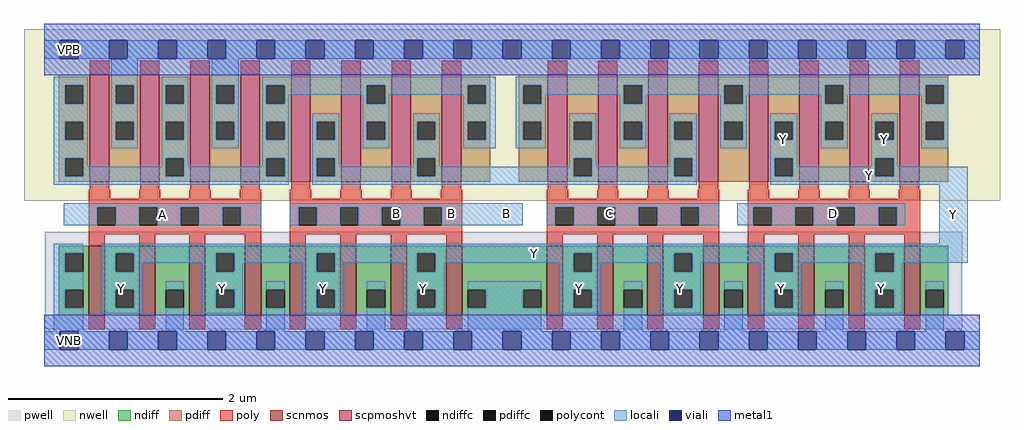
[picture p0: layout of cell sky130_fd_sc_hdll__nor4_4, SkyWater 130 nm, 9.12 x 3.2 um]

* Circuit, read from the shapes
.subckt sky130_fd_sc_hdll__nor4_4 A B C D VGND VNB VPB VPWR Y
XM1 Y A VGND VNB sky130_fd_pr__nfet_01v8 w=0.65 l=0.15 m=4
XM2 Y B VGND VNB sky130_fd_pr__nfet_01v8 w=0.65 l=0.15 m=4
XM3 Y C VGND VNB sky130_fd_pr__nfet_01v8 w=0.65 l=0.15 m=4
XM4 Y D VGND VNB sky130_fd_pr__nfet_01v8 w=0.65 l=0.15 m=4
XM5 VPWR A n1 VPB sky130_fd_pr__pfet_01v8_hvt w=1 l=0.18 m=4
XM6 n2 B n1 VPB sky130_fd_pr__pfet_01v8_hvt w=1 l=0.18 m=4
XM7 n2 C n3 VPB sky130_fd_pr__pfet_01v8_hvt w=1 l=0.18 m=4
XM8 Y D n3 VPB sky130_fd_pr__pfet_01v8_hvt w=1 l=0.18 m=4
.ends

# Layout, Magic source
magic
tech sky130A
magscale 1 2
<< nwell >>
rect -38 261 1786 582
<< pwell >>
rect 1 21 1715 203
rect 30 -17 64 21
<< scnmos >>
rect 83 47 113 177
rect 177 47 207 177
rect 271 47 301 177
rect 375 47 405 177
rect 459 47 489 177
rect 553 47 583 177
rect 647 47 677 177
rect 751 47 781 177
rect 939 47 969 177
rect 1033 47 1063 177
rect 1127 47 1157 177
rect 1231 47 1261 177
rect 1315 47 1345 177
rect 1409 47 1439 177
rect 1503 47 1533 177
rect 1607 47 1637 177
<< scpmoshvt >>
rect 85 297 121 497
rect 179 297 215 497
rect 273 297 309 497
rect 367 297 403 497
rect 461 297 497 497
rect 555 297 591 497
rect 649 297 685 497
rect 743 297 779 497
rect 941 297 977 497
rect 1035 297 1071 497
rect 1129 297 1165 497
rect 1223 297 1259 497
rect 1317 297 1353 497
rect 1411 297 1447 497
rect 1505 297 1541 497
rect 1599 297 1635 497
<< ndiff >>
rect 27 163 83 177
rect 27 129 39 163
rect 73 129 83 163
rect 27 95 83 129
rect 27 61 39 95
rect 73 61 83 95
rect 27 47 83 61
rect 113 163 177 177
rect 113 129 133 163
rect 167 129 177 163
rect 113 95 177 129
rect 113 61 133 95
rect 167 61 177 95
rect 113 47 177 61
rect 207 95 271 177
rect 207 61 227 95
rect 261 61 271 95
rect 207 47 271 61
rect 301 163 375 177
rect 301 129 321 163
rect 355 129 375 163
rect 301 95 375 129
rect 301 61 321 95
rect 355 61 375 95
rect 301 47 375 61
rect 405 95 459 177
rect 405 61 415 95
rect 449 61 459 95
rect 405 47 459 61
rect 489 163 553 177
rect 489 129 509 163
rect 543 129 553 163
rect 489 95 553 129
rect 489 61 509 95
rect 543 61 553 95
rect 489 47 553 61
rect 583 95 647 177
rect 583 61 603 95
rect 637 61 647 95
rect 583 47 647 61
rect 677 163 751 177
rect 677 129 697 163
rect 731 129 751 163
rect 677 95 751 129
rect 677 61 697 95
rect 731 61 751 95
rect 677 47 751 61
rect 781 95 939 177
rect 781 61 791 95
rect 825 61 895 95
rect 929 61 939 95
rect 781 47 939 61
rect 969 163 1033 177
rect 969 129 989 163
rect 1023 129 1033 163
rect 969 95 1033 129
rect 969 61 989 95
rect 1023 61 1033 95
rect 969 47 1033 61
rect 1063 95 1127 177
rect 1063 61 1083 95
rect 1117 61 1127 95
rect 1063 47 1127 61
rect 1157 163 1231 177
rect 1157 129 1177 163
rect 1211 129 1231 163
rect 1157 95 1231 129
rect 1157 61 1177 95
rect 1211 61 1231 95
rect 1157 47 1231 61
rect 1261 95 1315 177
rect 1261 61 1271 95
rect 1305 61 1315 95
rect 1261 47 1315 61
rect 1345 163 1409 177
rect 1345 129 1365 163
rect 1399 129 1409 163
rect 1345 95 1409 129
rect 1345 61 1365 95
rect 1399 61 1409 95
rect 1345 47 1409 61
rect 1439 95 1503 177
rect 1439 61 1459 95
rect 1493 61 1503 95
rect 1439 47 1503 61
rect 1533 163 1607 177
rect 1533 129 1553 163
rect 1587 129 1607 163
rect 1533 95 1607 129
rect 1533 61 1553 95
rect 1587 61 1607 95
rect 1533 47 1607 61
rect 1637 95 1689 177
rect 1637 61 1647 95
rect 1681 61 1689 95
rect 1637 47 1689 61
<< pdiff >>
rect 27 477 85 497
rect 27 443 39 477
rect 73 443 85 477
rect 27 409 85 443
rect 27 375 39 409
rect 73 375 85 409
rect 27 341 85 375
rect 27 307 39 341
rect 73 307 85 341
rect 27 297 85 307
rect 121 477 179 497
rect 121 443 133 477
rect 167 443 179 477
rect 121 409 179 443
rect 121 375 133 409
rect 167 375 179 409
rect 121 297 179 375
rect 215 477 273 497
rect 215 443 227 477
rect 261 443 273 477
rect 215 409 273 443
rect 215 375 227 409
rect 261 375 273 409
rect 215 341 273 375
rect 215 307 227 341
rect 261 307 273 341
rect 215 297 273 307
rect 309 477 367 497
rect 309 443 321 477
rect 355 443 367 477
rect 309 409 367 443
rect 309 375 321 409
rect 355 375 367 409
rect 309 297 367 375
rect 403 477 461 497
rect 403 443 415 477
rect 449 443 461 477
rect 403 409 461 443
rect 403 375 415 409
rect 449 375 461 409
rect 403 341 461 375
rect 403 307 415 341
rect 449 307 461 341
rect 403 297 461 307
rect 497 409 555 497
rect 497 375 509 409
rect 543 375 555 409
rect 497 341 555 375
rect 497 307 509 341
rect 543 307 555 341
rect 497 297 555 307
rect 591 477 649 497
rect 591 443 603 477
rect 637 443 649 477
rect 591 409 649 443
rect 591 375 603 409
rect 637 375 649 409
rect 591 297 649 375
rect 685 409 743 497
rect 685 375 697 409
rect 731 375 743 409
rect 685 341 743 375
rect 685 307 697 341
rect 731 307 743 341
rect 685 297 743 307
rect 779 477 833 497
rect 779 443 791 477
rect 825 443 833 477
rect 779 409 833 443
rect 779 375 791 409
rect 825 375 833 409
rect 779 297 833 375
rect 887 477 941 497
rect 887 443 895 477
rect 929 443 941 477
rect 887 409 941 443
rect 887 375 895 409
rect 929 375 941 409
rect 887 297 941 375
rect 977 409 1035 497
rect 977 375 989 409
rect 1023 375 1035 409
rect 977 341 1035 375
rect 977 307 989 341
rect 1023 307 1035 341
rect 977 297 1035 307
rect 1071 477 1129 497
rect 1071 443 1083 477
rect 1117 443 1129 477
rect 1071 409 1129 443
rect 1071 375 1083 409
rect 1117 375 1129 409
rect 1071 297 1129 375
rect 1165 409 1223 497
rect 1165 375 1177 409
rect 1211 375 1223 409
rect 1165 341 1223 375
rect 1165 307 1177 341
rect 1211 307 1223 341
rect 1165 297 1223 307
rect 1259 477 1317 497
rect 1259 443 1271 477
rect 1305 443 1317 477
rect 1259 409 1317 443
rect 1259 375 1271 409
rect 1305 375 1317 409
rect 1259 297 1317 375
rect 1353 409 1411 497
rect 1353 375 1365 409
rect 1399 375 1411 409
rect 1353 341 1411 375
rect 1353 307 1365 341
rect 1399 307 1411 341
rect 1353 297 1411 307
rect 1447 477 1505 497
rect 1447 443 1459 477
rect 1493 443 1505 477
rect 1447 409 1505 443
rect 1447 375 1459 409
rect 1493 375 1505 409
rect 1447 297 1505 375
rect 1541 409 1599 497
rect 1541 375 1553 409
rect 1587 375 1599 409
rect 1541 341 1599 375
rect 1541 307 1553 341
rect 1587 307 1599 341
rect 1541 297 1599 307
rect 1635 477 1689 497
rect 1635 443 1647 477
rect 1681 443 1689 477
rect 1635 409 1689 443
rect 1635 375 1647 409
rect 1681 375 1689 409
rect 1635 297 1689 375
<< ndiffc >>
rect 39 129 73 163
rect 39 61 73 95
rect 133 129 167 163
rect 133 61 167 95
rect 227 61 261 95
rect 321 129 355 163
rect 321 61 355 95
rect 415 61 449 95
rect 509 129 543 163
rect 509 61 543 95
rect 603 61 637 95
rect 697 129 731 163
rect 697 61 731 95
rect 791 61 825 95
rect 895 61 929 95
rect 989 129 1023 163
rect 989 61 1023 95
rect 1083 61 1117 95
rect 1177 129 1211 163
rect 1177 61 1211 95
rect 1271 61 1305 95
rect 1365 129 1399 163
rect 1365 61 1399 95
rect 1459 61 1493 95
rect 1553 129 1587 163
rect 1553 61 1587 95
rect 1647 61 1681 95
<< pdiffc >>
rect 39 443 73 477
rect 39 375 73 409
rect 39 307 73 341
rect 133 443 167 477
rect 133 375 167 409
rect 227 443 261 477
rect 227 375 261 409
rect 227 307 261 341
rect 321 443 355 477
rect 321 375 355 409
rect 415 443 449 477
rect 415 375 449 409
rect 415 307 449 341
rect 509 375 543 409
rect 509 307 543 341
rect 603 443 637 477
rect 603 375 637 409
rect 697 375 731 409
rect 697 307 731 341
rect 791 443 825 477
rect 791 375 825 409
rect 895 443 929 477
rect 895 375 929 409
rect 989 375 1023 409
rect 989 307 1023 341
rect 1083 443 1117 477
rect 1083 375 1117 409
rect 1177 375 1211 409
rect 1177 307 1211 341
rect 1271 443 1305 477
rect 1271 375 1305 409
rect 1365 375 1399 409
rect 1365 307 1399 341
rect 1459 443 1493 477
rect 1459 375 1493 409
rect 1553 375 1587 409
rect 1553 307 1587 341
rect 1647 443 1681 477
rect 1647 375 1681 409
<< poly >>
rect 85 497 121 523
rect 179 497 215 523
rect 273 497 309 523
rect 367 497 403 523
rect 461 497 497 523
rect 555 497 591 523
rect 649 497 685 523
rect 743 497 779 523
rect 941 497 977 523
rect 1035 497 1071 523
rect 1129 497 1165 523
rect 1223 497 1259 523
rect 1317 497 1353 523
rect 1411 497 1447 523
rect 1505 497 1541 523
rect 1599 497 1635 523
rect 85 282 121 297
rect 179 282 215 297
rect 273 282 309 297
rect 367 282 403 297
rect 461 282 497 297
rect 555 282 591 297
rect 649 282 685 297
rect 743 282 779 297
rect 941 282 977 297
rect 1035 282 1071 297
rect 1129 282 1165 297
rect 1223 282 1259 297
rect 1317 282 1353 297
rect 1411 282 1447 297
rect 1505 282 1541 297
rect 1599 282 1635 297
rect 83 265 123 282
rect 177 265 217 282
rect 271 265 311 282
rect 365 265 405 282
rect 83 249 405 265
rect 83 215 99 249
rect 133 215 177 249
rect 211 215 255 249
rect 289 215 333 249
rect 367 215 405 249
rect 83 199 405 215
rect 83 177 113 199
rect 177 177 207 199
rect 271 177 301 199
rect 375 177 405 199
rect 459 265 499 282
rect 553 265 593 282
rect 647 265 687 282
rect 741 265 781 282
rect 459 249 781 265
rect 459 215 475 249
rect 509 215 553 249
rect 587 215 631 249
rect 665 215 709 249
rect 743 215 781 249
rect 459 199 781 215
rect 459 177 489 199
rect 553 177 583 199
rect 647 177 677 199
rect 751 177 781 199
rect 939 265 979 282
rect 1033 265 1073 282
rect 1127 265 1167 282
rect 1221 265 1261 282
rect 939 249 1261 265
rect 939 215 955 249
rect 989 215 1033 249
rect 1067 215 1111 249
rect 1145 215 1189 249
rect 1223 215 1261 249
rect 939 199 1261 215
rect 939 177 969 199
rect 1033 177 1063 199
rect 1127 177 1157 199
rect 1231 177 1261 199
rect 1315 265 1355 282
rect 1409 265 1449 282
rect 1503 265 1543 282
rect 1597 265 1637 282
rect 1315 249 1637 265
rect 1315 215 1325 249
rect 1359 215 1403 249
rect 1437 215 1481 249
rect 1515 215 1559 249
rect 1593 215 1637 249
rect 1315 199 1637 215
rect 1315 177 1345 199
rect 1409 177 1439 199
rect 1503 177 1533 199
rect 1607 177 1637 199
rect 83 21 113 47
rect 177 21 207 47
rect 271 21 301 47
rect 375 21 405 47
rect 459 21 489 47
rect 553 21 583 47
rect 647 21 677 47
rect 751 21 781 47
rect 939 21 969 47
rect 1033 21 1063 47
rect 1127 21 1157 47
rect 1231 21 1261 47
rect 1315 21 1345 47
rect 1409 21 1439 47
rect 1503 21 1533 47
rect 1607 21 1637 47
<< polycont >>
rect 99 215 133 249
rect 177 215 211 249
rect 255 215 289 249
rect 333 215 367 249
rect 475 215 509 249
rect 553 215 587 249
rect 631 215 665 249
rect 709 215 743 249
rect 955 215 989 249
rect 1033 215 1067 249
rect 1111 215 1145 249
rect 1189 215 1223 249
rect 1325 215 1359 249
rect 1403 215 1437 249
rect 1481 215 1515 249
rect 1559 215 1593 249
<< locali >>
rect 0 527 29 561
rect 63 527 121 561
rect 155 527 213 561
rect 247 527 305 561
rect 339 527 397 561
rect 431 527 489 561
rect 523 527 581 561
rect 615 527 673 561
rect 707 527 765 561
rect 799 527 857 561
rect 891 527 949 561
rect 983 527 1041 561
rect 1075 527 1133 561
rect 1167 527 1225 561
rect 1259 527 1317 561
rect 1351 527 1409 561
rect 1443 527 1501 561
rect 1535 527 1593 561
rect 1627 527 1685 561
rect 1719 527 1748 561
rect 18 477 81 493
rect 18 443 39 477
rect 73 443 81 477
rect 18 409 81 443
rect 18 375 39 409
rect 73 375 81 409
rect 18 341 81 375
rect 125 477 175 527
rect 125 443 133 477
rect 167 443 175 477
rect 125 409 175 443
rect 125 375 133 409
rect 167 375 175 409
rect 125 359 175 375
rect 219 477 269 493
rect 219 443 227 477
rect 261 443 269 477
rect 219 409 269 443
rect 219 375 227 409
rect 261 375 269 409
rect 18 307 39 341
rect 73 325 81 341
rect 219 341 269 375
rect 313 477 363 527
rect 313 443 321 477
rect 355 443 363 477
rect 313 409 363 443
rect 313 375 321 409
rect 355 375 363 409
rect 313 359 363 375
rect 407 477 844 493
rect 407 443 415 477
rect 449 459 603 477
rect 449 443 457 459
rect 407 409 457 443
rect 595 443 603 459
rect 637 459 791 477
rect 637 443 645 459
rect 407 375 415 409
rect 449 375 457 409
rect 219 325 227 341
rect 73 307 227 325
rect 261 325 269 341
rect 407 341 457 375
rect 407 325 415 341
rect 261 307 415 325
rect 449 307 457 341
rect 18 291 457 307
rect 501 409 551 425
rect 501 375 509 409
rect 543 375 551 409
rect 501 341 551 375
rect 595 409 645 443
rect 783 443 791 459
rect 825 443 844 477
rect 595 375 603 409
rect 637 375 645 409
rect 595 359 645 375
rect 689 409 739 425
rect 689 375 697 409
rect 731 375 739 409
rect 501 307 509 341
rect 543 325 551 341
rect 689 341 739 375
rect 783 409 844 443
rect 783 375 791 409
rect 825 375 844 409
rect 783 359 844 375
rect 881 477 1689 493
rect 881 443 895 477
rect 929 459 1083 477
rect 929 443 937 459
rect 881 409 937 443
rect 1075 443 1083 459
rect 1117 459 1271 477
rect 1117 443 1125 459
rect 881 375 895 409
rect 929 375 937 409
rect 881 359 937 375
rect 981 409 1031 425
rect 981 375 989 409
rect 1023 375 1031 409
rect 689 325 697 341
rect 543 307 697 325
rect 731 325 739 341
rect 981 341 1031 375
rect 1075 409 1125 443
rect 1263 443 1271 459
rect 1305 459 1459 477
rect 1305 443 1313 459
rect 1075 375 1083 409
rect 1117 375 1125 409
rect 1075 359 1125 375
rect 1169 409 1219 425
rect 1169 375 1177 409
rect 1211 375 1219 409
rect 981 325 989 341
rect 731 307 989 325
rect 1023 325 1031 341
rect 1169 341 1219 375
rect 1263 409 1313 443
rect 1451 443 1459 459
rect 1493 459 1647 477
rect 1493 443 1501 459
rect 1263 375 1271 409
rect 1305 375 1313 409
rect 1263 359 1313 375
rect 1357 409 1407 425
rect 1357 375 1365 409
rect 1399 375 1407 409
rect 1169 325 1177 341
rect 1023 307 1177 325
rect 1211 307 1219 341
rect 501 291 1219 307
rect 1357 341 1407 375
rect 1451 409 1501 443
rect 1639 443 1647 459
rect 1681 443 1689 477
rect 1451 375 1459 409
rect 1493 375 1501 409
rect 1451 359 1501 375
rect 1545 409 1595 425
rect 1545 375 1553 409
rect 1587 375 1595 409
rect 1357 307 1365 341
rect 1399 325 1407 341
rect 1545 341 1595 375
rect 1639 409 1689 443
rect 1639 375 1647 409
rect 1681 375 1689 409
rect 1639 359 1689 375
rect 1545 325 1553 341
rect 1399 307 1553 325
rect 1587 325 1595 341
rect 1587 307 1726 325
rect 1357 291 1726 307
rect 36 249 405 257
rect 36 215 99 249
rect 133 215 177 249
rect 211 215 255 249
rect 289 215 333 249
rect 367 215 405 249
rect 459 249 894 257
rect 459 215 475 249
rect 509 215 553 249
rect 587 215 631 249
rect 665 215 709 249
rect 743 215 894 249
rect 939 249 1261 257
rect 939 215 955 249
rect 989 215 1033 249
rect 1067 215 1111 249
rect 1145 215 1189 249
rect 1223 215 1261 249
rect 1295 249 1609 257
rect 1295 215 1325 249
rect 1359 215 1403 249
rect 1437 215 1481 249
rect 1515 215 1559 249
rect 1593 215 1609 249
rect 1672 181 1726 291
rect 18 163 73 181
rect 18 129 39 163
rect 18 95 73 129
rect 18 61 39 95
rect 18 17 73 61
rect 107 163 1726 181
rect 107 129 133 163
rect 167 145 321 163
rect 167 129 183 145
rect 107 95 183 129
rect 295 129 321 145
rect 355 145 509 163
rect 355 129 371 145
rect 107 61 133 95
rect 167 61 183 95
rect 107 51 183 61
rect 227 95 261 111
rect 227 17 261 61
rect 295 95 371 129
rect 483 129 509 145
rect 543 145 697 163
rect 543 129 559 145
rect 295 61 321 95
rect 355 61 371 95
rect 295 51 371 61
rect 415 95 449 111
rect 415 17 449 61
rect 483 95 559 129
rect 671 129 697 145
rect 731 145 989 163
rect 731 129 747 145
rect 483 61 509 95
rect 543 61 559 95
rect 483 51 559 61
rect 603 95 637 111
rect 603 17 637 61
rect 671 95 747 129
rect 963 129 989 145
rect 1023 145 1177 163
rect 1023 129 1039 145
rect 671 61 697 95
rect 731 61 747 95
rect 671 51 747 61
rect 791 95 929 111
rect 825 61 895 95
rect 791 17 929 61
rect 963 95 1039 129
rect 1151 129 1177 145
rect 1211 145 1365 163
rect 1211 129 1227 145
rect 963 61 989 95
rect 1023 61 1039 95
rect 963 51 1039 61
rect 1083 95 1117 111
rect 1083 17 1117 61
rect 1151 95 1227 129
rect 1339 129 1365 145
rect 1399 145 1553 163
rect 1399 129 1415 145
rect 1151 61 1177 95
rect 1211 61 1227 95
rect 1151 51 1227 61
rect 1271 95 1305 111
rect 1271 17 1305 61
rect 1339 95 1415 129
rect 1527 129 1553 145
rect 1587 145 1726 163
rect 1587 129 1603 145
rect 1339 61 1365 95
rect 1399 61 1415 95
rect 1339 51 1415 61
rect 1459 95 1493 111
rect 1459 17 1493 61
rect 1527 95 1603 129
rect 1527 61 1553 95
rect 1587 61 1603 95
rect 1527 51 1603 61
rect 1647 95 1681 111
rect 1647 17 1681 61
rect 0 -17 29 17
rect 63 -17 121 17
rect 155 -17 213 17
rect 247 -17 305 17
rect 339 -17 397 17
rect 431 -17 489 17
rect 523 -17 581 17
rect 615 -17 673 17
rect 707 -17 765 17
rect 799 -17 857 17
rect 891 -17 949 17
rect 983 -17 1041 17
rect 1075 -17 1133 17
rect 1167 -17 1225 17
rect 1259 -17 1317 17
rect 1351 -17 1409 17
rect 1443 -17 1501 17
rect 1535 -17 1593 17
rect 1627 -17 1685 17
rect 1719 -17 1748 17
<< viali >>
rect 29 527 63 561
rect 121 527 155 561
rect 213 527 247 561
rect 305 527 339 561
rect 397 527 431 561
rect 489 527 523 561
rect 581 527 615 561
rect 673 527 707 561
rect 765 527 799 561
rect 857 527 891 561
rect 949 527 983 561
rect 1041 527 1075 561
rect 1133 527 1167 561
rect 1225 527 1259 561
rect 1317 527 1351 561
rect 1409 527 1443 561
rect 1501 527 1535 561
rect 1593 527 1627 561
rect 1685 527 1719 561
rect 29 -17 63 17
rect 121 -17 155 17
rect 213 -17 247 17
rect 305 -17 339 17
rect 397 -17 431 17
rect 489 -17 523 17
rect 581 -17 615 17
rect 673 -17 707 17
rect 765 -17 799 17
rect 857 -17 891 17
rect 949 -17 983 17
rect 1041 -17 1075 17
rect 1133 -17 1167 17
rect 1225 -17 1259 17
rect 1317 -17 1351 17
rect 1409 -17 1443 17
rect 1501 -17 1535 17
rect 1593 -17 1627 17
rect 1685 -17 1719 17
<< metal1 >>
rect 0 561 1748 592
rect 0 527 29 561
rect 63 527 121 561
rect 155 527 213 561
rect 247 527 305 561
rect 339 527 397 561
rect 431 527 489 561
rect 523 527 581 561
rect 615 527 673 561
rect 707 527 765 561
rect 799 527 857 561
rect 891 527 949 561
rect 983 527 1041 561
rect 1075 527 1133 561
rect 1167 527 1225 561
rect 1259 527 1317 561
rect 1351 527 1409 561
rect 1443 527 1501 561
rect 1535 527 1593 561
rect 1627 527 1685 561
rect 1719 527 1748 561
rect 0 496 1748 527
rect 0 17 1748 48
rect 0 -17 29 17
rect 63 -17 121 17
rect 155 -17 213 17
rect 247 -17 305 17
rect 339 -17 397 17
rect 431 -17 489 17
rect 523 -17 581 17
rect 615 -17 673 17
rect 707 -17 765 17
rect 799 -17 857 17
rect 891 -17 949 17
rect 983 -17 1041 17
rect 1075 -17 1133 17
rect 1167 -17 1225 17
rect 1259 -17 1317 17
rect 1351 -17 1409 17
rect 1443 -17 1501 17
rect 1535 -17 1593 17
rect 1627 -17 1685 17
rect 1719 -17 1748 17
rect 0 -48 1748 -17
<< labels >>
flabel locali s 36 215 405 257 0 FreeSans 400 0 0 0 A
port 1 nsew signal input
flabel locali s 1040 221 1074 255 0 FreeSans 400 0 0 0 C
port 3 nsew signal input
flabel locali s 1672 181 1726 291 0 FreeSans 400 0 0 0 Y
port 9 nsew signal output
flabel locali s 1458 221 1492 255 0 FreeSans 400 0 0 0 D
port 4 nsew signal input
flabel locali s 846 221 880 255 0 FreeSans 400 0 0 0 B
port 2 nsew signal input
flabel locali s 744 221 778 255 0 FreeSans 400 0 0 0 B
port 2 nsew signal input
flabel locali s 642 221 676 255 0 FreeSans 400 0 0 0 B
port 2 nsew signal input
flabel nwell s 30 527 64 561 0 FreeSans 200 0 0 0 VPB
port 7 nsew power bidirectional
flabel pwell s 30 -17 64 17 0 FreeSans 200 0 0 0 VNB
port 6 nsew ground bidirectional
flabel metal1 s 30 -17 64 17 0 FreeSans 200 0 0 0 VGND
port 5 nsew ground bidirectional
flabel metal1 s 30 527 64 561 0 FreeSans 200 0 0 0 VPWR
port 8 nsew power bidirectional
rlabel comment s 0 0 0 0 4 nor4_4
rlabel locali s 1545 325 1595 425 1 Y
port 9 nsew signal output
rlabel locali s 1527 51 1603 145 1 Y
port 9 nsew signal output
rlabel locali s 1357 325 1407 425 1 Y
port 9 nsew signal output
rlabel locali s 1357 291 1726 325 1 Y
port 9 nsew signal output
rlabel locali s 1339 51 1415 145 1 Y
port 9 nsew signal output
rlabel locali s 1151 51 1227 145 1 Y
port 9 nsew signal output
rlabel locali s 963 51 1039 145 1 Y
port 9 nsew signal output
rlabel locali s 671 51 747 145 1 Y
port 9 nsew signal output
rlabel locali s 483 51 559 145 1 Y
port 9 nsew signal output
rlabel locali s 295 51 371 145 1 Y
port 9 nsew signal output
rlabel locali s 107 145 1726 181 1 Y
port 9 nsew signal output
rlabel locali s 107 51 183 145 1 Y
port 9 nsew signal output
<< properties >>
string LEFsite unithd
string LEFclass CORE
string FIXED_BBOX 0 0 1748 544
string GDS_FILE $PDKPATH/libs.ref/sky130_fd_sc_hdll/gds/sky130_fd_sc_hdll.gds
string LEFsymmetry X Y R90
string GDS_END 2385536
string GDS_START 2372418
string LEFproperties maskLayoutSubType "abstract" prCellType "standard" originalViewName "layout"
<< end >>
